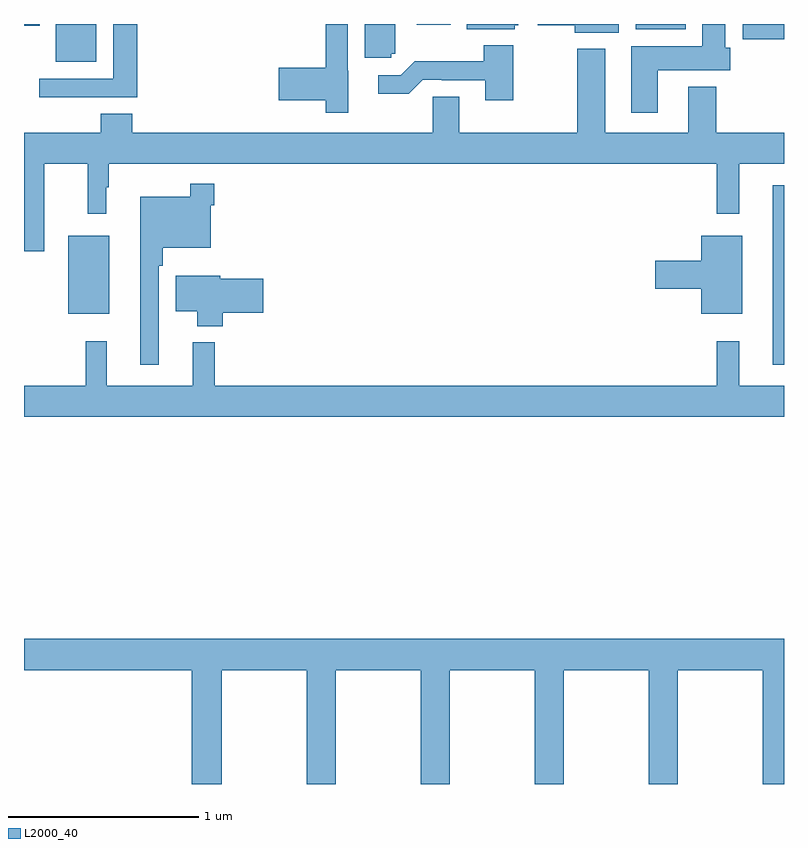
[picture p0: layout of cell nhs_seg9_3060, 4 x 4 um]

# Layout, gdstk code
import gdstk
lib = gdstk.Library(unit=1e-6, precision=1e-09)
def R(c, l, rs):  # rectangles x0, y0, x1, y1
    for r in rs: c.add(gdstk.rectangle(r[:2], r[2:], *l))
def P(c, l, *ps):  # polygons
    for p in ps: c.add(gdstk.Polygon(p, *l))
L2000_40 = (2000, 40)

nhs_seg9_3060 = lib.new_cell('nhs_seg9_3060')
R(nhs_seg9_3060, L2000_40, [(290.942,1184.706,291,1185.652), (287.234,1184.975,287.449,1185.385), (287.168,1186.301,287.38,1186.5), (290.784,1186.421,291,1186.5), (290.219,1186.472,290.482,1186.5), (287,1186.49,287.083,1186.5), (289.068,1186.496,289.245,1186.5)])
P(nhs_seg9_3060, L2000_40, [(289.584,1186.494),(289.6,1186.494),(289.6,1186.5),(289.33,1186.5),(289.33,1186.472),(289.584,1186.472)],
  [(290.131,1186.5),(289.704,1186.5),(289.704,1186.493),(289.898,1186.493),(289.898,1186.454),(290.131,1186.454)],
  [(290.335,1186.256),(290.717,1186.256),(290.717,1186.374),(290.692,1186.374),(290.692,1186.5),(290.57,1186.5),(290.57,1186.384),(290.195,1186.384),(290.195,1186.032),(290.335,1186.032)],
  [(288.706,1186.254),(288.705,1186.254),(288.705,1186.5),(288.589,1186.5),(288.589,1186.271),(288.342,1186.271),(288.342,1186.1),(288.589,1186.1),(288.589,1186.032),(288.706,1186.032)],
  [(288.933,1186.344),(288.955,1186.344),(288.955,1186.5),(288.794,1186.5),(288.794,1186.323),(288.933,1186.323)],
  [(287.597,1186.5),(287.471,1186.5),(287.471,1186.212),(287.079,1186.212),(287.079,1186.115),(287.597,1186.115)],
  [(289.575,1186.387),(289.42,1186.387),(289.42,1186.303),(289.057,1186.303),(288.984,1186.23),(288.864,1186.23),(288.864,1186.133),(289.025,1186.133),(289.098,1186.206),(289.198,1186.206),(289.198,1186.203),(289.427,1186.203),(289.427,1186.098),(289.575,1186.098)],
  [(287,1185.303),(287.107,1185.303),(287.107,1185.764),(287.335,1185.764),(287.335,1185.501),(287.434,1185.501),(287.434,1185.641),(287.446,1185.641),(287.446,1185.764),(290.647,1185.764),(290.647,1185.501),(290.765,1185.501),(290.765,1185.764),(291,1185.764),(291,1185.928),(290.643,1185.928),(290.643,1186.171),(290.495,1186.171),(290.495,1185.928),(290.059,1185.928),(290.059,1186.369),(289.912,1186.369),(289.912,1185.928),(289.291,1185.928),(289.291,1186.118),(289.152,1186.118),(289.152,1185.928),(287.57,1185.928),(287.57,1186.027),(287.405,1186.027),(287.405,1185.928),(287,1185.928)],
  [(287.709,1185.227),(287.729,1185.227),(287.729,1185.323),(287.982,1185.323),(287.982,1185.545),(288.002,1185.545),(288.002,1185.658),(287.874,1185.658),(287.874,1185.592),(287.612,1185.592),(287.612,1184.706),(287.709,1184.706)],
  [(290.779,1185.385),(290.564,1185.385),(290.564,1185.254),(290.322,1185.254),(290.322,1185.107),(290.564,1185.107),(290.564,1184.975),(290.779,1184.975)],
  [(288.047,1184.98),(288.259,1184.98),(288.259,1185.158),(288.034,1185.158),(288.034,1185.175),(287.798,1185.175),(287.798,1184.987),(287.912,1184.987),(287.912,1184.909),(288.047,1184.909)],
  [(291,1184.596),(290.765,1184.596),(290.765,1184.83),(290.647,1184.83),(290.647,1184.596),(288.005,1184.596),(288.005,1184.824),(287.888,1184.824),(287.888,1184.596),(287.435,1184.596),(287.435,1184.83),(287.325,1184.83),(287.325,1184.596),(287,1184.596),(287,1184.432),(291,1184.432)],
  [(288.042,1183.1),(288.487,1183.1),(288.487,1182.5),(288.642,1182.5),(288.642,1183.1),(289.087,1183.1),(289.087,1182.5),(289.242,1182.5),(289.242,1183.1),(289.687,1183.1),(289.687,1182.5),(289.842,1182.5),(289.842,1183.1),(290.287,1183.1),(290.287,1182.5),(290.442,1182.5),(290.442,1183.1),(290.887,1183.1),(290.887,1182.5),(291,1182.5),(291,1183.264),(287,1183.264),(287,1183.1),(287.882,1183.1),(287.882,1182.5),(288.042,1182.5)])

lib.write_gds('nhs_seg9_3060.gds')
